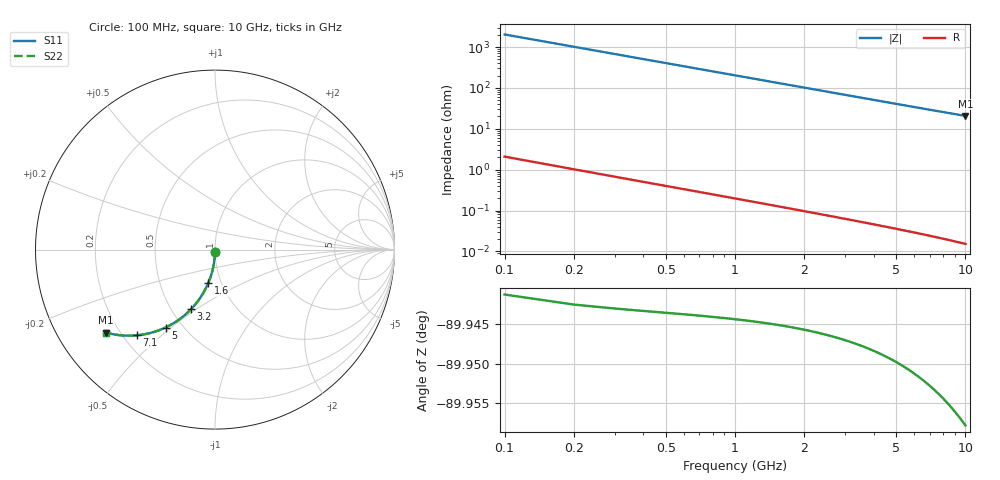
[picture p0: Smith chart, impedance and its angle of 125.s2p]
# Hz S RI R 50.00
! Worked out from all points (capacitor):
!   100 points, 100 MHz to 10 GHz, reference 50 ohm
!   read as one part in shunt: C = 784 fF near 100 MHz
!   lowest |Z| = 20.7 ohm at 10 GHz (marker M1)
!   S11 on the Smith chart (normalised r, x): 100 MHz: 1.00, -0.02; 1.6 GHz: 0.87, -0.33; 3.2 GHz: 0.62, -0.48; 5 GHz: 0.41, -0.48; 7.1 GHz: 0.25, -0.42; 10 GHz: 0.15, -0.33
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1e8  7.13e-05 -0.0121  0.9996 -0.0126  0.9996 -0.0126  7.13e-05 -0.0121
2e8  -0.000393 -0.0241  0.9991 -0.0251  0.9991 -0.0251  -0.000393 -0.0241
3e8  -0.00116 -0.0361  0.9984 -0.0376  0.9984 -0.0376  -0.00116 -0.0361
4e8  -0.00223 -0.0481  0.9973 -0.0501  0.9973 -0.0501  -0.00223 -0.0481
5e8  -0.00359 -0.0601  0.9959 -0.0625  0.9959 -0.0625  -0.00359 -0.0601
6e8  -0.00525 -0.0719  0.9943 -0.0749  0.9943 -0.0749  -0.00525 -0.0719
7e8  -0.00721 -0.0838  0.9923 -0.0873  0.9923 -0.0873  -0.00721 -0.0838
9e8  -0.012 -0.1072  0.9875 -0.1117  0.9875 -0.1117  -0.012 -0.1072
1.2e9  -0.0212 -0.1415  0.9783 -0.1475  0.9783 -0.1475  -0.0212 -0.1415
1.6e9  -0.0373 -0.1856  0.9622 -0.1936  0.9622 -0.1936  -0.0373 -0.1856
1.8e9  -0.0467 -0.2067  0.9527 -0.2157  0.9527 -0.2157  -0.0467 -0.2067
2.4e9  -0.0803 -0.2657  0.9191 -0.2777  0.9191 -0.2777  -0.0803 -0.2657
3.2e9  -0.1345 -0.333  0.8648 -0.3491  0.8648 -0.3491  -0.1345 -0.333
3.4e9  -0.1493 -0.3477  0.85 -0.3647  0.85 -0.3647  -0.1493 -0.3477
4.2e9  -0.2115 -0.3976  0.7878 -0.4186  0.7878 -0.4186  -0.2115 -0.3976
5e9  -0.2757 -0.434  0.7234 -0.4591  0.7234 -0.4591  -0.2757 -0.434
5.1e9  -0.2838 -0.4377  0.7154 -0.4633  0.7154 -0.4633  -0.2838 -0.4377
5.9e9  -0.3469 -0.4608  0.6521 -0.4904  0.6521 -0.4904  -0.3469 -0.4608
6.7e9  -0.407 -0.474  0.5919 -0.5077  0.5919 -0.5077  -0.407 -0.474
7.1e9  -0.4355 -0.4775  0.5633 -0.5133  0.5633 -0.5133  -0.4355 -0.4775
8.4e9  -0.5202 -0.4778  0.4784 -0.5202  0.4784 -0.5202  -0.5202 -0.4778
1e10  -0.6071 -0.4623  0.3911 -0.513  0.3911 -0.513  -0.6071 -0.4623
